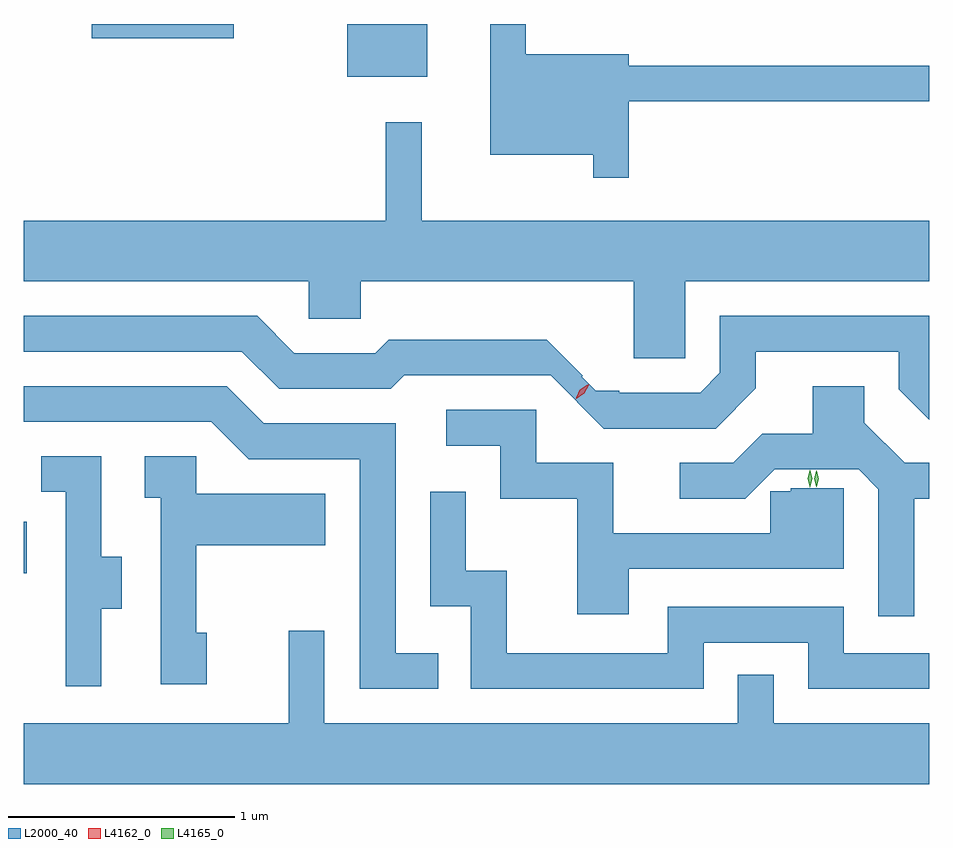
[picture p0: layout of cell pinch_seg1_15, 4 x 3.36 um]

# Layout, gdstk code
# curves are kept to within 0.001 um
import gdstk
lib = gdstk.Library(unit=1e-6, precision=1e-09)
def R(c, l, rs):  # rectangles x0, y0, x1, y1
    for r in rs: c.add(gdstk.rectangle(r[:2], r[2:], *l))
def P(c, l, *ps):  # polygons
    for p in ps: c.add(gdstk.Polygon(p, *l))
L2000_40 = (2000, 40)
L4162_0 = (4162, 0)
L4165_0 = (4165, 0)

pinch_seg1_15 = lib.new_cell('pinch_seg1_15')
R(pinch_seg1_15, L2000_40, [(1857.396,882.746,1857.409,882.974), (1858.826,884.941,1859.179,885.173), (1857.696,885.111,1858.324,885.173)])
P(pinch_seg1_15, L2000_40, [(1860.069,884.831),(1861.396,884.831),(1861.396,884.989),(1860.069,884.989),(1860.069,885.039),(1859.614,885.039),(1859.614,885.173),(1859.456,885.173),(1859.456,884.596),(1859.911,884.596),(1859.911,884.493),(1860.069,884.493)],
  [(1860.319,884.036),(1861.396,884.036),(1861.396,884.304),(1859.154,884.304),(1859.154,884.738),(1858.996,884.738),(1858.996,884.304),(1857.396,884.304),(1857.396,884.036),(1858.656,884.036),(1858.656,883.871),(1858.884,883.871),(1858.884,884.036),(1860.091,884.036),(1860.091,883.696),(1860.319,883.696)],
  [(1860.629,883.564),(1860.629,883.726),(1861.261,883.726),(1861.261,883.559),(1861.396,883.424),(1861.396,883.884),(1860.471,883.884),(1860.471,883.632),(1860.384,883.544),(1860.027,883.544),(1860.027,883.553),(1859.923,883.553),(1859.861,883.615),(1859.865,883.62),(1859.706,883.779),(1859.009,883.779),(1858.949,883.719),(1858.592,883.719),(1858.427,883.884),(1857.396,883.884),(1857.396,883.726),(1858.359,883.726),(1858.524,883.561),(1859.017,883.561),(1859.077,883.621),(1859.724,883.622),(1859.959,883.386),(1860.452,883.386)],
  [(1859.228,882.394),(1859.039,882.394),(1859.039,883.409),(1858.457,883.409),(1858.292,883.574),(1857.396,883.574),(1857.396,883.416),(1858.224,883.416),(1858.389,883.251),(1858.881,883.251),(1858.881,882.236),(1859.228,882.236)],
  [(1861.329,883.076),(1861.396,883.076),(1861.396,883.234),(1861.287,883.234),(1861.109,883.412),(1861.109,883.574),(1860.881,883.574),(1860.881,883.364),(1860.659,883.364),(1860.529,883.234),(1860.293,883.234),(1860.293,883.076),(1860.583,883.076),(1860.713,883.206),(1861.084,883.206),(1861.171,883.119),(1861.171,882.558),(1861.329,882.558)],
  [(1860.069,882.766),(1861.019,882.766),(1861.019,883.019),(1861.018,883.019),(1861.018,883.122),(1860.784,883.122),(1860.784,883.109),(1860.694,883.109),(1860.694,882.924),(1859.999,882.924),(1859.999,883.234),(1859.659,883.234),(1859.659,883.469),(1859.263,883.469),(1859.263,883.311),(1859.501,883.311),(1859.501,883.076),(1859.841,883.076),(1859.841,882.566),(1860.069,882.566)],
  [(1858.204,882.484),(1858.159,882.484),(1858.159,882.871),(1858.729,882.871),(1858.729,883.099),(1858.159,883.099),(1858.159,883.264),(1857.931,883.264),(1857.931,883.081),(1858.001,883.081),(1858.001,882.256),(1858.204,882.256)],
  [(1857.739,882.591),(1857.829,882.591),(1857.829,882.819),(1857.739,882.819),(1857.739,883.264),(1857.473,883.264),(1857.473,883.106),(1857.581,883.106),(1857.581,882.248),(1857.739,882.248)],
  [(1860.399,882.441),(1860.861,882.441),(1860.861,882.236),(1861.396,882.236),(1861.396,882.394),(1861.019,882.394),(1861.019,882.599),(1860.241,882.599),(1860.241,882.394),(1859.529,882.394),(1859.529,882.759),(1859.349,882.759),(1859.349,883.108),(1859.191,883.108),(1859.191,882.601),(1859.371,882.601),(1859.371,882.236),(1860.399,882.236)],
  [(1861.396,882.084),(1860.709,882.084),(1860.709,882.298),(1860.551,882.298),(1860.551,882.084),(1858.724,882.084),(1858.724,882.493),(1858.566,882.493),(1858.566,882.084),(1857.396,882.084),(1857.396,881.816),(1861.396,881.816)])
P(pinch_seg1_15, L4162_0, [(1859.836,883.521),(1859.836,883.522),(1859.853,883.557),(1859.885,883.58),(1859.886,883.58),(1859.886,883.579),(1859.868,883.544),(1859.836,883.521)],
  [(1859.834,883.515),(1859.834,883.516),(1859.856,883.555),(1859.892,883.582),(1859.893,883.582),(1859.893,883.581),(1859.871,883.542),(1859.834,883.515)])
P(pinch_seg1_15, L4165_0, [(1860.869,883.127),(1860.869,883.128),(1860.859,883.164),(1860.869,883.201),(1860.869,883.202),(1860.87,883.201),(1860.879,883.164),(1860.87,883.128)],
  [(1860.898,883.129),(1860.897,883.13),(1860.888,883.164),(1860.897,883.199),(1860.897,883.2),(1860.898,883.199),(1860.907,883.165),(1860.898,883.13)])

lib.write_gds('pinch_seg1_15.gds')
